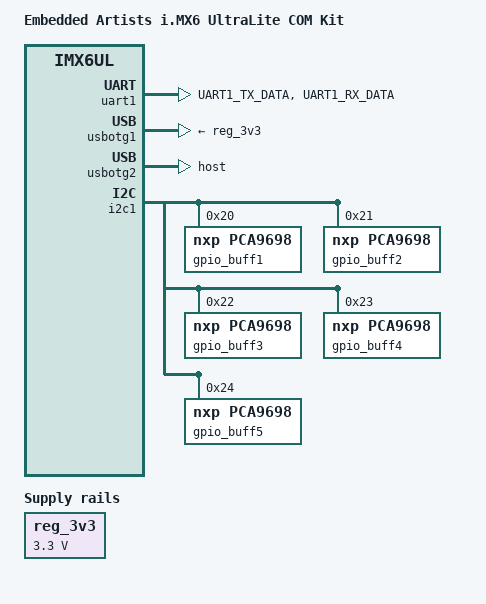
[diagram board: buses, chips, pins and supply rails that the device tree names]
/*
 * Copyright (C) 2015 Freescale Semiconductor, Inc.
 *
 * This program is free software; you can redistribute it and/or modify
 * it under the terms of the GNU General Public License version 2 as
 * published by the Free Software Foundation.
 */
 
/dts-v1/;

#include "imx6ulea-com.dtsi"

/ {
	model = "Embedded Artists i.MX6 UltraLite COM Kit";
	compatible = "fsl,imx6ulea-com", "fsl,imx6ul";

	chosen {
		stdout-path = &uart1;
	};

	regulators {
		compatible = "simple-bus";
		#address-cells = <1>;
		#size-cells = <0>;

		reg_3v3: regulator@2 {
			compatible = "regulator-fixed";
			reg = <2>;
			regulator-name = "reg-3v3";
			regulator-min-microvolt = <3300000>;
			regulator-max-microvolt = <3300000>;
		};
	};
};


&clks {
	assigned-clocks = <&clks IMX6UL_CLK_PLL4_AUDIO_DIV>;
	assigned-clock-rates = <860160000>;
};

&uart1 {
	pinctrl-names = "default";
	pinctrl-0 = <&pinctrl_uart1>;
	status = "okay";
};

&usbotg1 {
	vbus-supply = <&reg_3v3>;
	status = "okay";
};

&usbotg2 {
	dr_mode = "host";
	disable-over-current;
	status = "okay";
};

&i2c1 {
        gpio_buff1: pca9698@20 {
                compatible = "nxp,pca9698";
                reg = <0x20>;
                gpio-controller;
                #gpio-cells = <2>;
        };
        gpio_buff2: pca9698@21 {
                compatible = "nxp,pca9698";
                reg = <0x21>;
                gpio-controller;
                #gpio-cells = <2>;
        };
        gpio_buff3: pca9698@22 {
                compatible = "nxp,pca9698";
                reg = <0x22>;
                gpio-controller;
                #gpio-cells = <2>;
        };
        gpio_buff4: pca9698@23 {
                compatible = "nxp,pca9698";
                reg = <0x23>;
                gpio-controller;
                #gpio-cells = <2>;
        };
        gpio_buff5: pca9698@24 {
                compatible = "nxp,pca9698";
                reg = <0x24>;
                gpio-controller;
                #gpio-cells = <2>;
        };
};

&i2c2 {
	status = "disabled";
};

&iomuxc {
	pinctrl-names = "default";
	pinctrl-0 = <&pinctrl_test>;

	imx6ulea-com-kit {
		pinctrl_test: tstgrp {
			fsl,pins = <
				/* From: pinctrl_hog_1: hoggrp-1 */
				MX6UL_PAD_LCD_RESET__WDOG1_WDOG_ANY			0x30b0
				MX6UL_PAD_GPIO1_IO05__GPIO1_IO05			0x1f099 /* SD1 VSELECT */
				MX6UL_PAD_GPIO1_IO09__GPIO1_IO09			0x1f099 /* SD1 RESET */
				MX6UL_PAD_SNVS_TAMPER1__GPIO5_IO01			0x1f099 /* CAN Regulator */

				/* From: pinctrl_flexcan1: flexcan1grp */
				MX6UL_PAD_UART3_RTS_B__GPIO1_IO27			0x1f099
				MX6UL_PAD_UART3_CTS_B__GPIO1_IO26			0x1f099

				/* From: pinctrl_flexcan2: flexcan2grp */
				MX6UL_PAD_UART2_RTS_B__GPIO1_IO23			0x1f099
				MX6UL_PAD_UART2_CTS_B__GPIO1_IO22			0x1f099

				/* From: pinctrl_lcdif_dat: lcdifdatgrp */
				MX6UL_PAD_LCD_DATA00__GPIO3_IO05			0x1f099
				MX6UL_PAD_LCD_DATA01__GPIO3_IO06			0x1f099
				MX6UL_PAD_LCD_DATA02__GPIO3_IO07			0x1f099
				MX6UL_PAD_LCD_DATA03__GPIO3_IO08			0x1f099
				MX6UL_PAD_LCD_DATA04__GPIO3_IO09			0x1f099
				MX6UL_PAD_LCD_DATA05__GPIO3_IO10			0x1f099
				MX6UL_PAD_LCD_DATA06__GPIO3_IO11			0x1f099
				MX6UL_PAD_LCD_DATA07__GPIO3_IO12			0x1f099
				MX6UL_PAD_LCD_DATA08__GPIO3_IO13			0x1f099
				MX6UL_PAD_LCD_DATA09__GPIO3_IO14			0x1f099
				MX6UL_PAD_LCD_DATA10__GPIO3_IO15			0x1f099
				MX6UL_PAD_LCD_DATA11__GPIO3_IO16			0x1f099
				MX6UL_PAD_LCD_DATA12__GPIO3_IO17			0x1f099
				MX6UL_PAD_LCD_DATA13__GPIO3_IO18			0x1f099
				MX6UL_PAD_LCD_DATA14__GPIO3_IO19			0x1f099
				MX6UL_PAD_LCD_DATA15__GPIO3_IO20			0x1f099
				MX6UL_PAD_LCD_DATA16__GPIO3_IO21			0x1f099
				MX6UL_PAD_LCD_DATA17__GPIO3_IO22			0x1f099
				MX6UL_PAD_LCD_DATA18__GPIO3_IO23			0x1f099
				MX6UL_PAD_LCD_DATA19__GPIO3_IO24			0x1f099
				MX6UL_PAD_LCD_DATA20__GPIO3_IO25			0x1f099
				MX6UL_PAD_LCD_DATA21__GPIO3_IO26			0x1f099
				MX6UL_PAD_LCD_DATA22__GPIO3_IO27			0x1f099
				MX6UL_PAD_LCD_DATA23__GPIO3_IO28			0x1f099

				/* From: pinctrl_lcdif_ctrl: lcdifctrlgrp */
				MX6UL_PAD_LCD_CLK__GPIO3_IO00				0x1f099
				MX6UL_PAD_LCD_ENABLE__GPIO3_IO01			0x1f099
				MX6UL_PAD_LCD_HSYNC__GPIO3_IO02				0x1f099
				MX6UL_PAD_LCD_VSYNC__GPIO3_IO03				0x1f099
				MX6UL_PAD_GPIO1_IO02__GPIO1_IO02			0x1f099

				/* From: pinctrl_pwm1: pwm1grp */
				MX6UL_PAD_GPIO1_IO08__GPIO1_IO08			0x1f099

				/* From: pinctrl_usdhc1: usdhc1grp */
				MX6UL_PAD_SD1_CMD__GPIO2_IO16				0x1f099
				MX6UL_PAD_SD1_CLK__GPIO2_IO17				0x1f099
				MX6UL_PAD_SD1_DATA0__GPIO2_IO18				0x1f099
				MX6UL_PAD_SD1_DATA1__GPIO2_IO19				0x1f099
				MX6UL_PAD_SD1_DATA2__GPIO2_IO20				0x1f099
				MX6UL_PAD_SD1_DATA3__GPIO2_IO21				0x1f099
				MX6UL_PAD_GPIO1_IO03__GPIO1_IO03			0x1f099

				/* From: pinctrl_sai2: sai2grp */
				MX6UL_PAD_JTAG_TDI__GPIO1_IO13				0x1f099
				MX6UL_PAD_JTAG_TDO__GPIO1_IO12				0x1f099
				MX6UL_PAD_JTAG_TRST_B__GPIO1_IO15			0x1f099
				MX6UL_PAD_JTAG_TCK__GPIO1_IO14				0x1f099
				MX6UL_PAD_JTAG_TMS__GPIO1_IO11				0x1f099

				/* pinctrl_rgb_connector: rgb_connector_grp */
				MX6UL_PAD_CSI_DATA03__GPIO4_IO24			0x1f099

				/* From: pinctrl_uart2: uart2grp */
				MX6UL_PAD_UART2_TX_DATA__GPIO1_IO20			0x1f099
				MX6UL_PAD_UART2_RX_DATA__GPIO1_IO21			0x1f099

				/* From: pinctrl_uart3: uart3grp */
				MX6UL_PAD_UART3_TX_DATA__GPIO1_IO24			0x1f099
				MX6UL_PAD_UART3_RX_DATA__GPIO1_IO25			0x1f099

				/* From: imx6ulea-com.dtsi: pinctrl_qspi: qspigrp */
				MX6UL_PAD_NAND_WP_B__GPIO4_IO11				0x1f099
				MX6UL_PAD_NAND_READY_B__GPIO4_IO12			0x1f099
				MX6UL_PAD_NAND_CE0_B__GPIO4_IO13			0x1f099
				MX6UL_PAD_NAND_CE1_B__GPIO4_IO14			0x1f099
				MX6UL_PAD_NAND_CLE__GPIO4_IO15				0x1f099
				MX6UL_PAD_NAND_DQS__GPIO4_IO16				0x1f099

				/* From: imx6ulea-com.dtsi: pinctrl_i2c2: i2c2grp */
				MX6UL_PAD_UART5_TX_DATA__GPIO1_IO30			0x1f099
				MX6UL_PAD_UART5_RX_DATA__GPIO1_IO31			0x1f099

				/* Previously undeclared: */
				MX6UL_PAD_BOOT_MODE1__GPIO5_IO11			0x1f099
				MX6UL_PAD_JTAG_MOD__GPIO1_IO10				0x1f099
				MX6UL_PAD_UART1_CTS_B__GPIO1_IO18			0x1f099
				MX6UL_PAD_UART1_RTS_B__GPIO1_IO19			0x1f099
				MX6UL_PAD_GPIO1_IO01__GPIO1_IO01			0x1f099
			>;
		};

		pinctrl_uart1: uart1grp {
			fsl,pins = <
				MX6UL_PAD_UART1_TX_DATA__UART1_DCE_TX 0x1f0b1
				MX6UL_PAD_UART1_RX_DATA__UART1_DCE_RX 0x1f0b1
			>;
		};
	};
};
